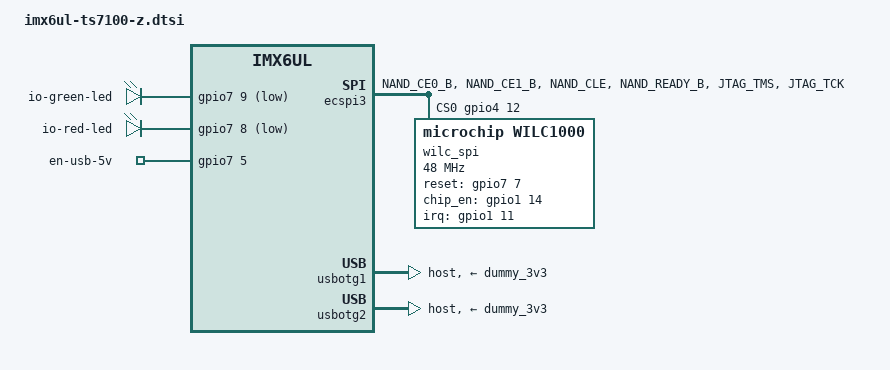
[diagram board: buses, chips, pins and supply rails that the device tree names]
/*
 * Copyright (C) 2019-2022 Technologic Systems, Inc. dba embeddedTS
 *
 * This program is free software; you can redistribute it and/or modify
 * it under the terms of the GNU General Public License version 2 as
 * published by the Free Software Foundation.
 */

/ {
	leds {
		compatible = "gpio-leds";

		io-green-led {
			label = "io-green-led";
			gpios = <&gpio7 9 GPIO_ACTIVE_LOW>;
			default-state = "off";
		};

		io-red-led {
			label = "io-red-led";
			gpios = <&gpio7 8 GPIO_ACTIVE_LOW>;
			default-state = "off";
		};

		/* The following are meant to be userspace controlled IO. The
		 * kernel does not allow setting default state of GPIO, but
		 * the default state of LEDs can be set, which is why the LED
		 * subsystem is used.
		 */

		/* The actual switch is present on the TS-7100-Z baseboard, so
		 * we specifically implement control for it here. It is
		 * dependent on the FPGA GPIO which is set up in the
		 * 7100.dtsi. No iomux needs to be set up for it.
		 */
		en-usb-5v {
			label = "en-usb-5v";
			gpios = <&gpio7 5 GPIO_ACTIVE_HIGH>;
			default-state = "on";
		};
	};
};

&ecspi3 {
	fsl,spi-num-chipselects = <1>;
	cs-gpios = <&gpio4 12 GPIO_ACTIVE_HIGH>;
	pinctrl-names = "default";
	pinctrl-0 = <&pinctrl_ecspi3>;
	status = "okay";

	wilc_spi@0 {
		compatible = "microchip,wilc1000", "microchip,wilc3000";
		reg = <0>;
		spi-max-frequency = <48000000>;
		/* These are in FPGA! */
		reset-gpios = <&gpio7 7 GPIO_ACTIVE_HIGH>;
		chip_en-gpios = <&gpio1 14 GPIO_ACTIVE_HIGH>;
		interrupt-parent = <&gpio1>;
		interrupts = <11 GPIO_ACTIVE_HIGH>;
		status = "okay";
	};

};

&usbotg1 {
	dr_mode = "host";
	disable-over-current;
	vbus-supply = <&dummy_3v3>;
	status = "okay";
};

&usbotg2 {
	dr_mode = "host";
	disable-over-current;
	vbus-supply = <&dummy_3v3>;
	status = "okay";
};

&iomuxc {
	pinctrl-0 = <&ts7100_pinctrl_hog &ts7100z_pinctrl_hog>;
	imx6ul-7100 {
		pinctrl_ecspi3: ecspi3grp {
			fsl,pins = <
				MX6UL_PAD_NAND_CE0_B__ECSPI3_SCLK	0x1b020
				MX6UL_PAD_NAND_CE1_B__ECSPI3_MOSI	0x1b020
				MX6UL_PAD_NAND_CLE__ECSPI3_MISO		0x1b020
				/* WIFI CS# */
				MX6UL_PAD_NAND_READY_B__GPIO4_IO12	0x1b020
				/* WIFI IRQ */
				MX6UL_PAD_JTAG_TMS__GPIO1_IO11		0x1b020
				/* EN WIFI PWR */
				MX6UL_PAD_JTAG_TCK__GPIO1_IO14		0x1b020
			>;
		};

		ts7100z_pinctrl_hog: 7100z_hoggrp {
			fsl,pins = <
				/* All GPIO should be 0x1b020 unless special
				 * 0x1b020 == Hyst., 100k PU, 50 mA drive
				 * 0x1a020 == no pull resistor
				 * 0x13020 == 100k PD
				 */

				/* EN_RELAY 1 */
				MX6UL_PAD_SNVS_TAMPER4__GPIO5_IO04	0x1a020
				/* EN_RELAY 2 */
				MX6UL_PAD_SNVS_TAMPER5__GPIO5_IO05	0x1a020
				/* PUSH_SW_CPU# */
				MX6UL_PAD_JTAG_TDI__GPIO1_IO13		0x1b020
				/* CAN1, NC on IO board */
				MX6UL_PAD_LCD_DATA08__GPIO3_IO13	0x1b020
				MX6UL_PAD_LCD_DATA09__GPIO3_IO14	0x1b020
			>;
		};
	};
};
